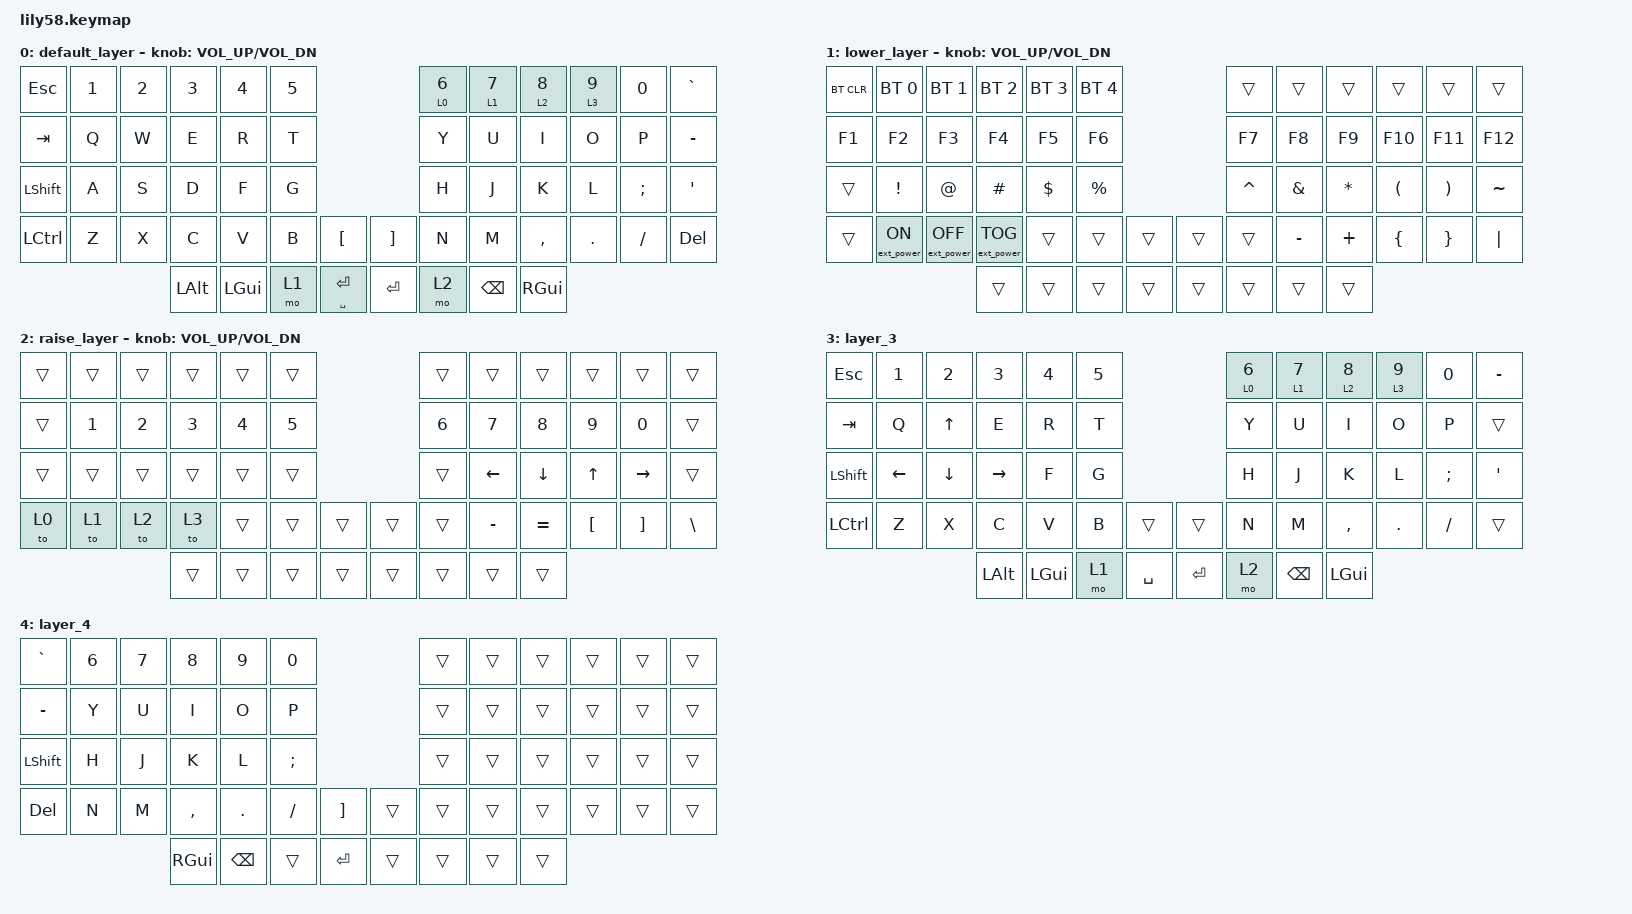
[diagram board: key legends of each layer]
/*
 * Copyright (c) 2020 The ZMK Contributors
 *
 * SPDX-License-Identifier: MIT
 */

#include <behaviors.dtsi>
#include <dt-bindings/zmk/bt.h>
#include <dt-bindings/zmk/ext_power.h>
#include <dt-bindings/zmk/keys.h>

/ {
    combos {
        compatible = "zmk,combos";

        combo_esc {
            timeout-ms = <400>;
            key-positions = <0 1>;
            bindings = <&kp ESC>;
        };

        combo_l0 {
            bindings = <&to 0>;
            key-positions = <1 37>;
            timeout-ms = <1000>;
        };

        combo_l1 {
            bindings = <&to 1>;
            key-positions = <2 38>;
            timeout-ms = <1000>;
        };

        combo_l2 {
            bindings = <&to 2>;
            key-positions = <3 39>;
            timeout-ms = <1000>;
        };

        combo_l3 {
            bindings = <&to 3>;
            key-positions = <4 40>;
            timeout-ms = <1000>;
        };

        combo_l4 {
            bindings = <&to 4>;
            key-positions = <5 41>;
            timeout-ms = <1000>;
        };
    };

    behaviors {
        ss_hs_modmorph: ss_hs_modmorph {
            compatible = "zmk,behavior-mod-morph";
            label = "SS_HS_MODMORPH";
            bindings = <&kp M>, <&kp RIGHT_BRACKET>;

            #binding-cells = <0>;
            mods = <(MOD_LSFT|MOD_RSFT)>;
        };

        kh_hs_tapdance: kh_hs_tapdance {
            compatible = "zmk,behavior-tap-dance";
            label = "KH_HS_TAPDANCE";
            #binding-cells = <0>;
            tapping-term-ms = <200>;
            bindings = <&kp LEFT_BRACKET>, <&kp RIGHT_BRACKET>;
        };

        hrm: hrm {
            compatible = "zmk,behavior-hold-tap";
            #binding-cells = <2>;
            flavor = "tap-preferred";
            tapping-term-ms = <200>;
            quick-tap-ms = <200>;
            require-prior-idle-ms = <125>;
            bindings = <&kp>, <&kp>;
        };
    };

    keymap {
        compatible = "zmk,keymap";

        default_layer {
            // ------------------------------------------------------------------------------------------------------------
            // |  ESC  |  1  |  2  |  3   |  4   |  5   |                   |  6   |  7    |  8    |  9   |   0   |   `   |
            // |  TAB  |  Q  |  W  |  E   |  R   |  T   |                   |  Y   |  U    |  I    |  O   |   P   |   -   |
            // |  CTRL |  A  |  S  |  D   |  F   |  G   |                   |  H   |  J    |  K    |  L   |   ;   |   '   |
            // | SHIFT |  Z  |  X  |  C   |  V   |  B   |   "["  |  |  "]"  |  N   |  M    |  ,    |  .   |   /   | SHIFT |
            //                     | ALT  | GUI  | LOWER|  SPACE |  | ENTER | RAISE| BSPC  | GUI   |

            bindings = <
&kp ESC         &kp N1  &kp N2  &kp N3    &kp N4    &kp N5                               &lt 0 N6  &lt 1 N7  &lt 2 N8   &lt 3 N9  &kp N0    &kp GRAVE
&kp TAB         &kp Q   &kp W   &kp E     &kp R     &kp T                                &kp Y     &kp U     &kp I      &kp O     &kp P     &kp MINUS
&kp LEFT_SHIFT  &kp A   &kp S   &kp D     &kp F     &kp G                                &kp H     &kp J     &kp K      &kp L     &kp SEMI  &kp SQT
&kp LCTRL       &kp Z   &kp X   &kp C     &kp V     &kp B   &kp LBKT           &kp RBKT  &kp N     &kp M     &kp COMMA  &kp DOT   &kp FSLH  &kp DELETE
                                &kp LALT  &kp LGUI  &mo 1   &mt SPACE ENTER    &kp RET   &mo 2     &kp BSPC  &kp RGUI
            >;

            sensor-bindings = <&inc_dec_kp C_VOL_UP C_VOL_DN>;
        };

        lower_layer {
            // ------------------------------------------------------------------------------------------------------------
            // | BTCLR | BT1 | BT2 |  BT3 |  BT4 |  BT5 |                   |      |       |       |      |       |       |
            // |  F1   |  F2 |  F3 |  F4  |  F5  |  F6  |                   |  F7  |  F8   |  F9   |  F10 |  F11  |  F12  |
            // |   `   |  !  |  @  |  #   |  $   |  %   |                   |  ^   |  &    |  *    |  (   |   )   |   ~   |
            // |       |     |     |      |      |      |        |  |       |      |  _    |  +    |  {   |   }   |  "|"  |
            //                     |      |      |      |        |  |       |      |       |       |

            bindings = <
&bt BT_CLR  &bt BT_SEL 0      &bt BT_SEL 1       &bt BT_SEL 2       &bt BT_SEL 3  &bt BT_SEL 4                    &trans     &trans     &trans     &trans    &trans    &trans
&kp F1      &kp F2            &kp F3             &kp F4             &kp F5        &kp F6                          &kp F7     &kp F8     &kp F9     &kp F10   &kp F11   &kp F12
&trans      &kp EXCL          &kp AT             &kp HASH           &kp DOLLAR    &kp PRCNT                       &kp CARET  &kp AMPS   &kp ASTRK  &kp LPAR  &kp RPAR  &kp TILDE
&trans      &ext_power EP_ON  &ext_power EP_OFF  &ext_power EP_TOG  &trans        &trans        &trans    &trans  &trans     &kp MINUS  &kp PLUS   &kp LBRC  &kp RBRC  &kp PIPE
                                                 &trans             &trans        &trans        &trans    &trans  &trans     &trans     &trans
            >;

            sensor-bindings = <&inc_dec_kp C_VOL_UP C_VOL_DN>;
        };

        raise_layer {
            // ------------------------------------------------------------------------------------------------------------
            // |       |     |     |      |      |      |                   |      |       |       |      |       |       |
            // |   `   |  1  |  2  |  3   |  4   |  5   |                   |  6   |   7   |   8   |  9   |   0   |       |
            // |   F1  |  F2 |  F3 |  F4  |  F5  |  F6  |                   |      |   <-  |   v   |  ^   |  ->   |       |
            // |   F7  |  F8 |  F9 |  F10 |  F11 |  F12 |        |  |       |  +   |   -   |   =   |  [   |   ]   |   \   |
            //                     |      |      |      |        |  |       |      |       |       |

            bindings = <
&trans  &trans  &trans  &trans  &trans  &trans                    &trans  &trans     &trans     &trans    &trans     &trans
&trans  &kp N1  &kp N2  &kp N3  &kp N4  &kp N5                    &kp N6  &kp N7     &kp N8     &kp N9    &kp N0     &trans
&trans  &trans  &trans  &trans  &trans  &trans                    &trans  &kp LEFT   &kp DOWN   &kp UP    &kp RIGHT  &trans
&to 0   &to 1   &to 2   &to 3   &trans  &trans  &trans    &trans  &trans  &kp MINUS  &kp EQUAL  &kp LBKT  &kp RBKT   &kp BSLH
                        &trans  &trans  &trans  &trans    &trans  &trans  &trans     &trans
            >;

            sensor-bindings = <&inc_dec_kp C_VOL_UP C_VOL_DN>;
        };

        layer_3 {
            bindings = <
&kp ESC    &kp N1          &kp N2          &kp N3     &kp N4    &kp N5                          &lt 0 N6  &lt 1 N7  &lt 2 N8   &lt 3 N9  &kp N0    &kp MINUS
&kp TAB    &kp Q           &kp UP_ARROW    &kp E      &kp R     &kp T                           &kp Y     &kp U     &kp I      &kp O     &kp P     &trans
&kp LSHFT  &kp LEFT_ARROW  &kp DOWN_ARROW  &kp RIGHT  &kp F     &kp G                           &kp H     &kp J     &kp K      &kp L     &kp SEMI  &kp APOS
&kp LCTRL  &kp Z           &kp X           &kp C      &kp V     &kp B   &trans       &trans     &kp N     &kp M     &kp COMMA  &kp DOT   &kp FSLH  &trans
                                           &kp LALT   &kp LGUI  &mo 1   &kp SPACE    &kp ENTER  &mo 2     &kp BSPC  &kp LGUI
            >;
        };

        layer_4 {
            bindings = <
&kp GRAVE  &kp N6  &kp N7  &kp N8     &kp N9    &kp N0                         &trans  &trans  &trans  &trans  &trans  &trans
&kp MINUS  &kp Y   &kp U   &kp I      &kp O     &kp P                          &trans  &trans  &trans  &trans  &trans  &trans
&kp LSHFT  &kp H   &kp J   &kp K      &kp L     &kp SEMI                       &trans  &trans  &trans  &trans  &trans  &trans
&kp DEL    &kp N   &kp M   &kp COMMA  &kp DOT   &kp FSLH  &kp RBKT     &trans  &trans  &trans  &trans  &trans  &trans  &trans
                           &kp RGUI   &kp BSPC  &trans    &kp ENTER    &trans  &trans  &trans  &trans
            >;
        };
    };

    conditional_layers { compatible = "zmk,conditional-layers"; };
};
